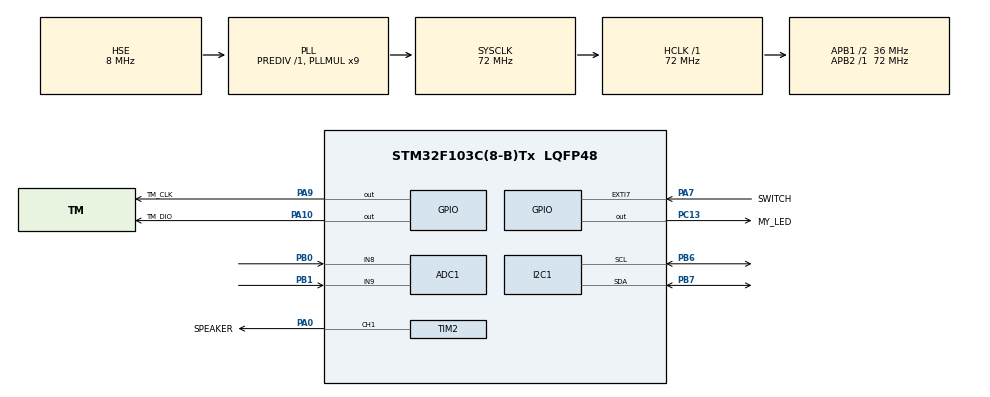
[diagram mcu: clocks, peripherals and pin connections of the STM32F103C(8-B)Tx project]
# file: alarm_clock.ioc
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ADC1.Channel-0\#ChannelRegularConversion=ADC_CHANNEL_9
ADC1.Channel-2\#ChannelRegularConversion=ADC_CHANNEL_8
ADC1.ContinuousConvMode=ENABLE
ADC1.EnableAnalogWatchDog=false
ADC1.NbrOfConversion=2
ADC1.NbrOfConversionFlag=1
ADC1.Rank-0\#ChannelRegularConversion=1
ADC1.Rank-2\#ChannelRegularConversion=2
ADC1.SamplingTime-0\#ChannelRegularConversion=ADC_SAMPLETIME_71CYCLES_5
ADC1.SamplingTime-2\#ChannelRegularConversion=ADC_SAMPLETIME_71CYCLES_5
ADC1.master=1
Dma.ADC1.0.Direction=DMA_PERIPH_TO_MEMORY
Dma.ADC1.0.Instance=DMA1_Channel1
Dma.ADC1.0.MemDataAlignment=DMA_MDATAALIGN_WORD
Dma.ADC1.0.MemInc=DMA_MINC_ENABLE
Dma.ADC1.0.Mode=DMA_CIRCULAR
Dma.ADC1.0.PeriphDataAlignment=DMA_PDATAALIGN_WORD
Dma.ADC1.0.PeriphInc=DMA_PINC_DISABLE
Dma.ADC1.0.Priority=DMA_PRIORITY_MEDIUM
Dma.Request0=ADC1
Mcu.Family=STM32F1
Mcu.Name=STM32F103C(8-B)Tx
Mcu.Package=LQFP48
NVIC.DMA1_Channel1_IRQn=true\:0\:0\:false\:false\:true\:false\:true\:true
NVIC.EXTI9_5_IRQn=true\:0\:0\:false\:false\:true\:true\:true\:true
NVIC.PriorityGroup=NVIC_PRIORITYGROUP_4
PA0-WKUP.GPIO_Label=SPEAKER
PA0-WKUP.Signal=S_TIM2_CH1_ETR
PA10.GPIO_Label=TM_DIO
PA10.Signal=GPIO_Output
PA13.Mode=Serial_Wire
PA13.Signal=SYS_JTMS-SWDIO
PA14.Mode=Serial_Wire
PA14.Signal=SYS_JTCK-SWCLK
PA7.GPIO_Label=SWITCH
PA7.GPIO_ModeDefaultEXTI=GPIO_MODE_IT_RISING_FALLING
PA7.GPIO_PuPd=GPIO_PULLUP
PA7.Signal=GPXTI7
PA9.GPIO_Label=TM_CLK
PA9.Signal=GPIO_Output
PB0.Signal=ADCx_IN8
PB1.Signal=ADCx_IN9
PB6.Mode=I2C
PB6.Signal=I2C1_SCL
PB7.Mode=I2C
PB7.Signal=I2C1_SDA
PC13-TAMPER-RTC.GPIO_Label=MY_LED
PC13-TAMPER-RTC.Signal=GPIO_Output
PD0-OSC_IN.Mode=HSE-External-Oscillator
PD0-OSC_IN.Signal=RCC_OSC_IN
PD1-OSC_OUT.Mode=HSE-External-Oscillator
PD1-OSC_OUT.Signal=RCC_OSC_OUT
ProjectManager.HeapSize=0x200
ProjectManager.StackSize=0x400
ProjectManager.TargetToolchain=STM32CubeIDE
RCC.ADCPresc=RCC_ADCPCLK2_DIV6
RCC.AHBFreq_Value=72000000
RCC.APB1CLKDivider=RCC_HCLK_DIV2
RCC.APB1Freq_Value=36000000
RCC.APB1TimFreq_Value=72000000
RCC.APB2Freq_Value=72000000
RCC.APB2TimFreq_Value=72000000
RCC.HCLKFreq_Value=72000000
RCC.PLLMUL=RCC_PLL_MUL9
RCC.PLLSourceVirtual=RCC_PLLSOURCE_HSE
RCC.SYSCLKFreq_VALUE=72000000
RCC.SYSCLKSource=RCC_SYSCLKSOURCE_PLLCLK
RCC.USBFreq_Value=72000000
SH.ADCx_IN8.0=ADC1_IN8,IN8
SH.ADCx_IN9.0=ADC1_IN9,IN9
SH.S_TIM2_CH1_ETR.0=TIM2_CH1,PWM Generation1 CH1
TIM2.Channel-PWM\ Generation1\ CH1=TIM_CHANNEL_1
TIM2.Period=2499
TIM2.Prescaler=71
VP_TIM2_VS_ClockSourceINT.Mode=Internal
board=custom

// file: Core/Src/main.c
/* USER CODE BEGIN Header */
/**
  ******************************************************************************
  * @file           : main.c
  * @brief          : Main program body
  ******************************************************************************
  * @attention
  *
  * Copyright (c) 2026 STMicroelectronics.
  * All rights reserved.
  *
  * This software is licensed under terms that can be found in the LICENSE file
  * in the root directory of this software component.
  * If no LICENSE file comes with this software, it is provided AS-IS.
  *
  ******************************************************************************
  */
/* USER CODE END Header */
#include "main.h"

/* USER CODE BEGIN Includes */

#include "tm1637.h"
#include "ds1307.h"
#include "ds3231.h"
#include "speaker.h"
#include "at24cxx.h"
#include "stdbool.h"
#include "string.h"

/* USER CODE END Includes */

ADC_HandleTypeDef hadc1;
DMA_HandleTypeDef hdma_adc1;

I2C_HandleTypeDef hi2c1;

TIM_HandleTypeDef htim2;

/* USER CODE BEGIN PV */
struct t_1 start_t;

// for current time
uint32_t downtime_seconds;
uint32_t downtime_seconds_prev = 0;
uint32_t downtime_seconds_prev_HELPER = 0;
uint32_t today_time_in_sec = 0;
uint8_t time_display_data[4];

// joystick
enum Joy_Commands {
	JOY_U,
	JOY_R,
	JOY_D,
	JOY_L,
	JOY_IDLE
};
bool joystick_at_idle = true;
uint32_t value_adc[2];

// For switch cases
volatile bool switch_pressed = false;
bool prev_switch_status = false;
bool long_switch_pressed = false;
uint32_t HIGH_TICK = 0, LOW_TICK = 0;
uint8_t double_quick_switch_counter = 0, single_quick_switch_counter = 0;
uint32_t single_switch_timer = 0;
bool enable_single_switch_timer = false;

int8_t current_function = 0;
int8_t current_layer = 0;
int8_t prev_layer = 0; // just for displaying alarm function(that is 0th function) when entered into layer1 from 0th layer

// layer: 1
int prev_joy_command = JOY_IDLE;

// lyaer: 2 --> TIMER
uint32_t my_alarm_playlist[4];
uint8_t total_enabled_alarms = 0;
bool start_playing_alarm = false;
bool compare_alarms = true;
bool currently_alarm_playing = false;

// layer: 2 --> TIMER
int8_t current_timer_option = 0;
bool stop_beep_beep_FLAG = false;

// layer: 2 --> STOP WATCH
uint8_t stop_w_data[4] = {0, 0, 0, 0};
uint32_t current_sw_tick = 0;
uint32_t prev_sw_tick = 0;
uint8_t stop_watch_layer = 0;
bool stop_watch_zero_display_FLAG = true;
uint32_t sw_counter = 0;

// For auto display off
bool auto_display_off_FLAG = false;
uint32_t auto_display_off_timer = 0;
bool auto_display_off_ENABLE = true;  // in layer 1 and layer 2 we don't want screen to go off. This is where this should be false to stop auto display off feature

bool start_timer_FLAG = false;

// timer sound parameters
bool start_beep_beep_FLAG = false;  // becomes high whenever alarm or timer finishes
uint8_t time_gap_counter = 0; // if self%3 = 0 then 100ms, = 1 then 100ms, =2 then 1 second
uint16_t timer_sound_interval = 0;
uint32_t timer_sound_prev_time = 0;
bool flip_on_off_sound_FLAG = true;

// for small beep
bool small_beep_FLAG = false;

uint16_t timer_seconds = 0;
uint32_t timer_PREV_time = 0, timer_FUTURE_time = 0;
uint8_t display_timer_data[4];
// ##################################################################################
/* USER CODE END PV */

void SystemClock_Config(void);
static void MX_GPIO_Init(void);
static void MX_DMA_Init(void);
static void MX_I2C1_Init(void);
static void MX_ADC1_Init(void);
static void MX_TIM2_Init(void);
/* USER CODE BEGIN PFP */

void display_current_time();
int get_joystick_commands(void);
int get_joystick_commands_continuous(void);
void display_stages(void);
void start_timer(uint8_t otpion);
void timer_beep_beep(void);
void detect_switch_cases_v2(void);
void update_layer(void);
void show_function_selector(void);
void timer_selector(void);
void handle_stop_watch(void);
void handle_alarm_setting(void);
uint8_t* time_set_UI_HELPER(uint8_t* saved_alarmP);
void update_alarm_playlist(void);
void handle_alarm_playing(void);
void alarm_loop(void);
/* USER CODE END PFP */

int main(void)
{

  /* USER CODE BEGIN 1 */
//	HAL_StatusTypeDef ret;

  /* USER CODE END 1 */

  /* MCU Configuration--------------------------------------------------------*/

  /* Reset of all peripherals, Initializes the Flash interface and the Systick. */
  HAL_Init();

  /* Configure the system clock */
  SystemClock_Config();

  /* Initialize all configured peripherals */
  MX_GPIO_Init();
  MX_DMA_Init();
  MX_I2C1_Init();
  MX_ADC1_Init();
  MX_TIM2_Init();
  /* USER CODE BEGIN 2 */
  uint8_t data[4] = {0b01110111, 0b01111100, 0b00111001, 0b01011110};  // 1, 2, 3, 4
  TM1637_WriteData(0xC0, data, 4);

//  enable_oscillator_1(&hi2c1);
//  HAL_Delay(1000);
//
//  set_rtc_to_current_1(&hi2c1, 0, 12, 14, 4, 19, 11, 26);
//  HAL_Delay(1000);
  // to enable rtc module
//  uint8_t buff[1] = {0};
//   HAL_I2C_Mem_Write(&hi2c1, TIMER_ADDR, REG_TIME, I2C_MEMADD_SIZE_8BIT, buff, 1, 100);

  start_t = get_current_time_1(&hi2c1);
  uint8_t start_minute = start_t.minute;
  uint8_t start_hour = start_t.hour;
  uint8_t start_seconds = start_t.second;
  uint32_t start_time_in_sec = start_hour * 3600 + start_minute * 60 + start_seconds;
  today_time_in_sec = start_time_in_sec;

  HAL_ADCEx_Calibration_Start(&hadc1);
  HAL_ADC_Start_DMA(&hadc1, (uint32_t*)value_adc, 2);

  // turn off built in led
  HAL_GPIO_WritePin(MY_LED_GPIO_Port, MY_LED_Pin, 1);

  update_alarm_playlist();

  /* USER CODE END 2 */

  /* Infinite loop */
  /* USER CODE BEGIN WHILE */
  while (1)
  {
	  // ################################################################################################
	  // calculating today's current time in seconds
	  downtime_seconds = HAL_GetTick()/1000;
//	  today_time_in_sec = start_time_in_sec + downtime_seconds;

	  if (downtime_seconds - downtime_seconds_prev_HELPER >= 1){
		  today_time_in_sec += 1;
		  downtime_seconds_prev_HELPER = downtime_seconds;
		  handle_alarm_playing();
	  }

	  if (today_time_in_sec > (86400)){
		  today_time_in_sec = get_current_time_in_sec_1(&hi2c1);
	  }
	  // ################################################################################################

	  detect_switch_cases_v2();

	  update_layer();

	  if (downtime_seconds - auto_display_off_timer >= 10 && (!auto_display_off_FLAG && auto_display_off_ENABLE)){
		  auto_display_off_FLAG = true;
		  uint8_t nothing_digits[4] = {0, 0, 0, 0};
		  TM1637_WriteData(0xc0, nothing_digits, 4);
	  }

	  if (current_layer == 0) {
		  if (!auto_display_off_ENABLE) auto_display_off_ENABLE = true;
		  display_current_time();
	  }

	  else if (current_layer == 1) {
		  if (auto_display_off_ENABLE) auto_display_off_ENABLE = false;
		  show_function_selector();
	  }

	  else if (current_layer == 2) {
		  // timer
		  if (current_function == 1){
			  timer_selector();
		  }
	  }

	  else if (current_layer == 10){
		  start_timer(current_timer_option);
		  if (start_beep_beep_FLAG) timer_beep_beep();
	  }

	  else if (current_layer == 15){
		  handle_stop_watch();
	  }

	  else if (current_layer == 20){
		  handle_alarm_setting();
		  update_alarm_playlist();
	  }

	  // clear all switch cases
	  single_quick_switch_counter = 0;
	  double_quick_switch_counter = 0;
	  long_switch_pressed = 0;
	  prev_layer = current_layer;

    /* USER CODE END WHILE */

  }
}

void SystemClock_Config(void)
{
  RCC_OscInitTypeDef RCC_OscInitStruct = {0};
  RCC_ClkInitTypeDef RCC_ClkInitStruct = {0};
  RCC_PeriphCLKInitTypeDef PeriphClkInit = {0};

  /** Initializes the RCC Oscillators according to the specified parameters
  * in the RCC_OscInitTypeDef structure.
  */
  RCC_OscInitStruct.OscillatorType = RCC_OSCILLATORTYPE_HSE;
  RCC_OscInitStruct.HSEState = RCC_HSE_ON;
  RCC_OscInitStruct.HSEPredivValue = RCC_HSE_PREDIV_DIV1;
  RCC_OscInitStruct.HSIState = RCC_HSI_ON;
  RCC_OscInitStruct.PLL.PLLState = RCC_PLL_ON;
  RCC_OscInitStruct.PLL.PLLSource = RCC_PLLSOURCE_HSE;
  RCC_OscInitStruct.PLL.PLLMUL = RCC_PLL_MUL9;
  if (HAL_RCC_OscConfig(&RCC_OscInitStruct) != HAL_OK)
  {
    Error_Handler();
  }

  /** Initializes the CPU, AHB and APB buses clocks
  */
  RCC_ClkInitStruct.ClockType = RCC_CLOCKTYPE_HCLK|RCC_CLOCKTYPE_SYSCLK
                              |RCC_CLOCKTYPE_PCLK1|RCC_CLOCKTYPE_PCLK2;
  RCC_ClkInitStruct.SYSCLKSource = RCC_SYSCLKSOURCE_PLLCLK;
  RCC_ClkInitStruct.AHBCLKDivider = RCC_SYSCLK_DIV1;
  RCC_ClkInitStruct.APB1CLKDivider = RCC_HCLK_DIV2;
  RCC_ClkInitStruct.APB2CLKDivider = RCC_HCLK_DIV1;

  if (HAL_RCC_ClockConfig(&RCC_ClkInitStruct, FLASH_LATENCY_2) != HAL_OK)
  {
    Error_Handler();
  }
  PeriphClkInit.PeriphClockSelection = RCC_PERIPHCLK_ADC;
  PeriphClkInit.AdcClockSelection = RCC_ADCPCLK2_DIV6;
  if (HAL_RCCEx_PeriphCLKConfig(&PeriphClkInit) != HAL_OK)
  {
    Error_Handler();
  }
}

static void MX_ADC1_Init(void)
{

  ADC_ChannelConfTypeDef sConfig = {0};

  /** Common config
  */
  hadc1.Instance = ADC1;
  hadc1.Init.ScanConvMode = ADC_SCAN_ENABLE;
  hadc1.Init.ContinuousConvMode = ENABLE;
  hadc1.Init.DiscontinuousConvMode = DISABLE;
  hadc1.Init.ExternalTrigConv = ADC_SOFTWARE_START;
  hadc1.Init.DataAlign = ADC_DATAALIGN_RIGHT;
  hadc1.Init.NbrOfConversion = 2;
  if (HAL_ADC_Init(&hadc1) != HAL_OK)
  {
    Error_Handler();
  }

  /** Configure Regular Channel
  */
  sConfig.Channel = ADC_CHANNEL_9;
  sConfig.Rank = ADC_REGULAR_RANK_1;
  sConfig.SamplingTime = ADC_SAMPLETIME_71CYCLES_5;
  if (HAL_ADC_ConfigChannel(&hadc1, &sConfig) != HAL_OK)
  {
    Error_Handler();
  }

  /** Configure Regular Channel
  */
  sConfig.Channel = ADC_CHANNEL_8;
  sConfig.Rank = ADC_REGULAR_RANK_2;
  if (HAL_ADC_ConfigChannel(&hadc1, &sConfig) != HAL_OK)
  {
    Error_Handler();
  }

}

static void MX_I2C1_Init(void)
{

  hi2c1.Instance = I2C1;
  hi2c1.Init.ClockSpeed = 100000;
  hi2c1.Init.DutyCycle = I2C_DUTYCYCLE_2;
  hi2c1.Init.OwnAddress1 = 0;
  hi2c1.Init.AddressingMode = I2C_ADDRESSINGMODE_7BIT;
  hi2c1.Init.DualAddressMode = I2C_DUALADDRESS_DISABLE;
  hi2c1.Init.OwnAddress2 = 0;
  hi2c1.Init.GeneralCallMode = I2C_GENERALCALL_DISABLE;
  hi2c1.Init.NoStretchMode = I2C_NOSTRETCH_DISABLE;
  if (HAL_I2C_Init(&hi2c1) != HAL_OK)
  {
    Error_Handler();
  }

}

static void MX_TIM2_Init(void)
{

  TIM_ClockConfigTypeDef sClockSourceConfig = {0};
  TIM_MasterConfigTypeDef sMasterConfig = {0};
  TIM_OC_InitTypeDef sConfigOC = {0};

  htim2.Instance = TIM2;
  htim2.Init.Prescaler = 71;
  htim2.Init.CounterMode = TIM_COUNTERMODE_UP;
  htim2.Init.Period = 2499;
  htim2.Init.ClockDivision = TIM_CLOCKDIVISION_DIV1;
  htim2.Init.AutoReloadPreload = TIM_AUTORELOAD_PRELOAD_DISABLE;
  if (HAL_TIM_Base_Init(&htim2) != HAL_OK)
  {
    Error_Handler();
  }
  sClockSourceConfig.ClockSource = TIM_CLOCKSOURCE_INTERNAL;
  if (HAL_TIM_ConfigClockSource(&htim2, &sClockSourceConfig) != HAL_OK)
  {
    Error_Handler();
  }
  if (HAL_TIM_PWM_Init(&htim2) != HAL_OK)
  {
    Error_Handler();
  }
  sMasterConfig.MasterOutputTrigger = TIM_TRGO_RESET;
  sMasterConfig.MasterSlaveMode = TIM_MASTERSLAVEMODE_DISABLE;
  if (HAL_TIMEx_MasterConfigSynchronization(&htim2, &sMasterConfig) != HAL_OK)
  {
    Error_Handler();
  }
  sConfigOC.OCMode = TIM_OCMODE_PWM1;
  sConfigOC.Pulse = 0;
  sConfigOC.OCPolarity = TIM_OCPOLARITY_HIGH;
  sConfigOC.OCFastMode = TIM_OCFAST_DISABLE;
  if (HAL_TIM_PWM_ConfigChannel(&htim2, &sConfigOC, TIM_CHANNEL_1) != HAL_OK)
  {
    Error_Handler();
  }
  HAL_TIM_MspPostInit(&htim2);

}

static void MX_DMA_Init(void)
{

  /* DMA controller clock enable */
  __HAL_RCC_DMA1_CLK_ENABLE();

  /* DMA interrupt init */
  /* DMA1_Channel1_IRQn interrupt configuration */
  HAL_NVIC_SetPriority(DMA1_Channel1_IRQn, 0, 0);
  HAL_NVIC_EnableIRQ(DMA1_Channel1_IRQn);

}

static void MX_GPIO_Init(void)
{
  GPIO_InitTypeDef GPIO_InitStruct = {0};

  /* GPIO Ports Clock Enable */
  __HAL_RCC_GPIOC_CLK_ENABLE();
  __HAL_RCC_GPIOD_CLK_ENABLE();
  __HAL_RCC_GPIOA_CLK_ENABLE();
  __HAL_RCC_GPIOB_CLK_ENABLE();

  /*Configure GPIO pin Output Level */
  HAL_GPIO_WritePin(MY_LED_GPIO_Port, MY_LED_Pin, GPIO_PIN_RESET);

  /*Configure GPIO pin Output Level */
  HAL_GPIO_WritePin(GPIOA, TM_CLK_Pin|TM_DIO_Pin, GPIO_PIN_RESET);

  /*Configure GPIO pin : MY_LED_Pin */
  GPIO_InitStruct.Pin = MY_LED_Pin;
  GPIO_InitStruct.Mode = GPIO_MODE_OUTPUT_PP;
  GPIO_InitStruct.Pull = GPIO_NOPULL;
  GPIO_InitStruct.Speed = GPIO_SPEED_FREQ_LOW;
  HAL_GPIO_Init(MY_LED_GPIO_Port, &GPIO_InitStruct);

  /*Configure GPIO pin : SWITCH_Pin */
  GPIO_InitStruct.Pin = SWITCH_Pin;
  GPIO_InitStruct.Mode = GPIO_MODE_IT_RISING_FALLING;
  GPIO_InitStruct.Pull = GPIO_PULLUP;
  HAL_GPIO_Init(SWITCH_GPIO_Port, &GPIO_InitStruct);

  /*Configure GPIO pins : TM_CLK_Pin TM_DIO_Pin */
  GPIO_InitStruct.Pin = TM_CLK_Pin|TM_DIO_Pin;
  GPIO_InitStruct.Mode = GPIO_MODE_OUTPUT_PP;
  GPIO_InitStruct.Pull = GPIO_NOPULL;
  GPIO_InitStruct.Speed = GPIO_SPEED_FREQ_LOW;
  HAL_GPIO_Init(GPIOA, &GPIO_InitStruct);

  /* EXTI interrupt init*/
  HAL_NVIC_SetPriority(EXTI9_5_IRQn, 0, 0);
  HAL_NVIC_EnableIRQ(EXTI9_5_IRQn);

}

/* USER CODE BEGIN 4 */

void HAL_GPIO_EXTI_Callback(uint16_t GPIO_Pin){
	if(GPIO_Pin == SWITCH_Pin){
		switch_pressed = !HAL_GPIO_ReadPin(SWITCH_GPIO_Port, SWITCH_Pin);
	}
}

void detect_switch_cases_v2(void) {
    uint32_t current_tick = HAL_GetTick();

    // Read the volatile variable into a local variable once per loop
    // to prevent it from changing halfway through this function.
    bool current_switch = switch_pressed;

    // set timer for auto display off
    if (current_switch) {
    	auto_display_off_timer = HAL_GetTick()/1000;
    	auto_display_off_FLAG = false;
    }

//    // handle long_switch beep sound
//    if((current_tick - HIGH_TICK >= 1500) && (HIGH_TICK - LOW_TICK > 50) && !small_beep_FLAG){
//    	small_beep_FLAG = true;
//    	speaker_play(&htim2, 350);
//    }

    // 1. FALLING/RISING EDGE DETECTION WITH 50ms DEBOUNCE
    if (current_switch && !prev_switch_status && (current_tick - LOW_TICK > 50)) {
        HIGH_TICK = current_tick; // Switch pressed
    }
    else if (!current_switch && prev_switch_status && (current_tick - HIGH_TICK > 50)) {
        LOW_TICK = current_tick;  // Switch released

        uint32_t press_duration = LOW_TICK - HIGH_TICK;

        // 2. CHECK IF SHORT PRESS OR LONG PRESS
        if (press_duration < 1500) {

            // If we were already waiting for a second click, this is a DOUBLE CLICK
            if (enable_single_switch_timer) {
                double_quick_switch_counter += 1;
                enable_single_switch_timer = false; // Cancel the single click timer
            }
            // Otherwise, this is the first click. Start the timer to wait for a potential second click.
            else {
                single_switch_timer = LOW_TICK;
                enable_single_switch_timer = true;
            }
        }
        else {
            // It was a long press, and it has just been released
//            LONG_SWITCH_BEEPED = false;  // Reset for next time
            long_switch_pressed = true;
            // Optional safety: if user released between 1500ms and 1800ms, stop the beep early
            if (small_beep_FLAG) {
            	small_beep_FLAG = false;
                speaker_stop(&htim2);
            }
        }
    }

    // 3. HANDLE SINGLE CLICK TIMEOUT
    // If 300ms have passed since a short press and no second press happened, it's a SINGLE CLICK
    if (enable_single_switch_timer && (current_tick - single_switch_timer > 300)) {
        single_quick_switch_counter += 1;
        enable_single_switch_timer = false;
    }

    // 4. HANDLE LONG PRESS 300ms BEEP
    // Step A: Start beep at 1500ms while button is actively held down
    if (current_switch && (current_tick - HIGH_TICK >= 1500) && !small_beep_FLAG) {
        small_beep_FLAG = true;    // Tracks that the buzzer is currently active
        speaker_play(&htim2, 600);
    }

    // Step B: Stop beep 300ms later (at 1800ms) even if user is still holding the button
    if (small_beep_FLAG && (current_tick - HIGH_TICK >= 1650)) {
        small_beep_FLAG = false;
        speaker_stop(&htim2);
    }

    	// Update previous state for the next loop iteration
    prev_switch_status = current_switch;
}

void update_layer(void){
//	current_layer - a global_var
	// from 0th layer to 1st layer
	if (current_layer == 0 && long_switch_pressed){
		current_function = 0; // that is alarm function
		// here I would need long switch press for forward pass
		current_layer = 1;  // entering to layer where functions can be selected
	}
	else if (current_layer == 1 && single_quick_switch_counter){
		single_quick_switch_counter = 0;
		current_layer = 2;  // Entering to particular function
		if (current_function == 2){
			current_layer = 15;
			stop_watch_layer = 0;
			stop_watch_zero_display_FLAG = true;
			auto_display_off_ENABLE = false;
		}

		else if (current_function == 0){
			current_layer = 20;
			auto_display_off_ENABLE = false;
		}
	}
	else if (double_quick_switch_counter && (current_layer <= 2)){
		current_layer -= 1;
	}
	// timer option selected
	else if (current_layer == 2 && single_quick_switch_counter){
		single_quick_switch_counter = 0;
		if (current_function == 1){
			current_layer = 10; // specific for timer
			auto_display_off_ENABLE = true;
		}
//		else if (current_function == 2){
//			current_layer = 15;  // specific for stop watch
//			auto_display_off_ENABLE = false;
//		}
	}
	// timer is finished, stop beeep-beep
	else if (current_layer == 10 && single_quick_switch_counter && start_beep_beep_FLAG){
		current_layer = 0;
		stop_beep_beep_FLAG = true;
		auto_display_off_ENABLE = true;
	}
	// cancel the timer with long_switch press
	else if (current_layer == 10 && long_switch_pressed && !start_beep_beep_FLAG){
		current_layer = 0;
		start_timer_FLAG = false;
		auto_display_off_ENABLE = true;
	}
	// cancel the stop watch
	else if(current_layer == 15 && double_quick_switch_counter){
		if (stop_watch_layer == 0){
			current_layer = 0;
			auto_display_off_ENABLE = true;
		}
	}

	if (current_layer < 0) current_layer = 0;
}

void handle_stop_watch(void){
	current_sw_tick = HAL_GetTick();
	if (stop_watch_layer == 0 && stop_watch_zero_display_FLAG){
		// reset the buffer with zero
		for (uint8_t i = 0; i < 4; i++){
			stop_w_data[i] = 0;
		}
		display_all_digits(stop_w_data);
		stop_watch_zero_display_FLAG = false;  // so that only one time 00:00 sets
	}

	// start counting
	if (stop_watch_layer == 0 && single_quick_switch_counter){
		single_quick_switch_counter = 0;
		prev_sw_tick = current_sw_tick;
		stop_watch_layer = 1;
		sw_counter = 0;
	}

	// counting
	else if(stop_watch_layer == 1){

		if (single_quick_switch_counter){
			single_quick_switch_counter = 0;
			stop_watch_layer = 2;
			return;
		}

		if (current_sw_tick - prev_sw_tick >= 1000){
			// display the count
			sw_counter += 1;
			uint8_t sw_minutes = (uint8_t)(sw_counter / 60);
			uint8_t sw_seconds = (uint8_t)(sw_counter - sw_minutes*60);
			stop_w_data[0] = sw_minutes / 10;
			stop_w_data[1] = sw_minutes % 10;
			stop_w_data[2] = sw_seconds / 10;
			stop_w_data[3] = sw_seconds % 10;
			display_all_digits(stop_w_data);
			prev_sw_tick = current_sw_tick;
		}
	}

	// continue
	else if(stop_watch_layer == 2 && single_quick_switch_counter){
		single_quick_switch_counter = 0;
		stop_watch_layer = 1;
		return;
	}

	// reset
	else if(stop_watch_layer == 2 && long_switch_pressed){
		long_switch_pressed = 0;
		stop_watch_layer = 0;
		stop_watch_zero_display_FLAG = true;
	}
}

void update_alarm_playlist(void){
	// extract saved alarms from memory
	uint16_t memory_addr = 0x0000u;  // address for page1's first byte
	total_enabled_alarms = 0;
	for (uint8_t i = 0; i < 4; i++){
		uint8_t rData[6] = {0,0,0,0,0,0};
		if(at24_isConnected(&hi2c1)){
		  	at24_read(&hi2c1, memory_addr, rData, 5, 100);
		  	HAL_Delay(10);

			// only get alarm which are enabled
		  	if (rData[4] == 1){
		  		my_alarm_playlist[total_enabled_alarms] = (uint32_t)(rData[0]*10 + rData[1])*3600UL + (uint32_t)(rData[2]*10 + rData[3])*60UL;
		  		total_enabled_alarms += 1;
		  	}
		}
		memory_addr += 64;
	}

	// sort my_alarm_playlist in ascending order
	for (uint8_t i = 1; i < total_enabled_alarms; i++){
		uint32_t key = my_alarm_playlist[i];
		int8_t j = i - 1;
		while (j >= 0 && my_alarm_playlist[j] > key){
			my_alarm_playlist[j + 1] = my_alarm_playlist[j];
			j--;
		}
		my_alarm_playlist[j + 1] = key;
	}
}

void handle_alarm_playing(void){
	// my_alarm_playlist will sorted
	for(uint8_t i=0; i < total_enabled_alarms; i++){
		// compare it with saved alarms and trigger alarm if any match
		if (my_alarm_playlist[i] == today_time_in_sec) {
			alarm_loop(); // this is blocking function
			today_time_in_sec = get_current_time_in_sec_1(&hi2c1);  // time update
		}

	}

}

// single_quick_switch means stops alarm and any joystick command for more than 2 second as snooze
// when exiting loop update the today_time_in_sec
void alarm_loop(void){
	uint16_t alarm_tone[4] = {150, 100, 150, 800};  // play, stop, play, stop
	uint8_t array_len = sizeof(alarm_tone)/sizeof(alarm_tone[0]);  // because size of returns total bytes
	uint8_t current_index = 0; // index of alarm_tone array
	uint32_t index_counter = 0;
	int joy_comm__ = JOY_IDLE, prev_joy_comm__ = JOY_IDLE;
	uint32_t alarm_start_time_ = today_time_in_sec;
	uint32_t current_time_ = alarm_start_time_;
	uint32_t current_tick;
	uint32_t snooze_alarm_tick_helper1, snooze_alarm_helper2;
	uint32_t alarm_helper1 = HAL_GetTick();
	bool flag1 = true; // used to enter the if statement which plays or stops speaker

	bool snooze_mode_enterd = false;

	char display_data1[4] = {'A', 'A', 'A', 'A'};
	char display_data2[4] = {'z', 'z', 'z', 'z'};

	while(true){
		current_tick = HAL_GetTick();
		detect_switch_cases_v2();
		joy_comm__ = get_joystick_commands_continuous();

		// update the loop time in sec
		current_time_ = current_tick/1000;

		// stop the alarm
		if (single_quick_switch_counter) {
			single_quick_switch_counter = 0;
			speaker_stop(&htim2);
			HAL_Delay(20);
			break;
		}
		// snooze the alarm
		if (joy_comm__ != JOY_IDLE){
			if (joy_comm__ != prev_joy_comm__){
				snooze_alarm_tick_helper1 = current_tick;
			}

			// if more than 2 second than enter to snooze mode
			if ((current_tick - snooze_alarm_tick_helper1 > 2000) && !snooze_mode_enterd){
				snooze_mode_enterd = true;
				snooze_alarm_helper2 = current_time_;  // will be used to compare 5 minutes for again trigger alarm
				speaker_stop(&htim2);
				HAL_Delay(20);
				display_all_chars(display_data2);
			}

		}

		// this is where alarm tone will be played
		if (!snooze_mode_enterd){
			if (flag1){
				alarm_helper1 = current_tick;
				flag1 = false;
				if (current_index%2 == 0){
					speaker_play(&htim2, 350);
					display_all_chars(display_data1);
				}
				else{
					speaker_stop(&htim2);
					display_all_chars(display_data2);
				}
			}

			// increment current_index
			if(current_tick - alarm_helper1 >= alarm_tone[current_index]){
				flag1 = true;
				index_counter += 1;
				current_index = index_counter % array_len;
			}
		}
		else{
			// 300 seconds = 5 minutes
			if(current_time_ - snooze_alarm_helper2 >= 300){
				snooze_mode_enterd = false;
			}
		}

		prev_joy_comm__ = joy_comm__;
	}

	display_all_chars(display_data2);
}

void handle_alarm_setting(void){
	bool run_loop = true;
	uint8_t alarm_layer = 0;  // 0: all saved alarm can be scrolled by up and down, 1: set or notSet the selected alarm, 2: UI for setting alarm
	int joy_comm;
	int prev_joy_comm = JOY_IDLE;
	int8_t alarm_number = 0;
	bool is_alarm_enable = false; // alarm is disabled
//	uint8_t display_numbers[4];
	char display_characters[4];

	// extract saved alarms from memory
	static uint8_t my_saved_alarms[4][5];
	uint16_t memory_addr = 0x0000u;  // address for page1's first byte
	for (uint8_t i = 0; i < 4; i++){
		uint8_t rData[6] = {0,0,0,0,0,0};
		if(at24_isConnected(&hi2c1)){
		  	at24_read(&hi2c1, memory_addr, rData, 5, 100);
		  	HAL_Delay(10);
		}
		// Copy 5 bytes from rData into row 'i' of my_saved_alarms
		memcpy(my_saved_alarms[i], rData, 5);
		memory_addr += 64;
	}
	memory_addr = 0x0000u; // reset

	while (run_loop){
		detect_switch_cases_v2();
		joy_comm = get_joystick_commands();

		if (alarm_layer == 0 && double_quick_switch_counter){
			current_layer = 0;
			auto_display_off_ENABLE = true;
			run_loop = false;
			// update the current time
			today_time_in_sec = get_current_time_in_sec_1(&hi2c1);
			break;
		}

		// upon selecting particular indexed alarm
		if(alarm_layer == 0 && single_quick_switch_counter){
			single_quick_switch_counter = 0;
			alarm_layer = 1;
			is_alarm_enable = my_saved_alarms[alarm_number][4];
			if (is_alarm_enable){
				display_characters[0] = 'S';
				display_characters[1] = 'E';
				display_characters[2] = 't';
				display_characters[3] = ' ';
			}
			else{
				display_characters[0] = 'n';
				display_characters[1] = 'S';
				display_characters[2] = 'E';
				display_characters[3] = 't';
			}
			display_all_chars(display_characters);
		}

		if (alarm_layer == 1 && single_quick_switch_counter){
			single_quick_switch_counter = 0;
			if (!is_alarm_enable){
				alarm_layer = 0;
				uint8_t temp_enable = is_alarm_enable ? 1 : 0;
				if(at24_isConnected(&hi2c1)){
					at24_write(&hi2c1, (memory_addr + alarm_number*64 + 4), &temp_enable, 1, 100);
					HAL_Delay(10);
				}
			  	display_all_digits(my_saved_alarms[alarm_number]);
			  	HAL_Delay(10);
			  	// save the status
			  	my_saved_alarms[alarm_number][4] = temp_enable;
			}
			else{
				uint8_t *alarm_time_HELPER = time_set_UI_HELPER(&my_saved_alarms[alarm_number][0]);
				memcpy(my_saved_alarms[alarm_number], alarm_time_HELPER, 4);
				my_saved_alarms[alarm_number][4] = 1;
				alarm_layer = 0;
				// now save this set alarm to memory
				if(at24_isConnected(&hi2c1)){
					at24_write(&hi2c1, (memory_addr + alarm_number*64), my_saved_alarms[alarm_number], 5, 100);
					HAL_Delay(10);
				}

			}
		}

		if ((joy_comm != prev_joy_comm) && (joy_comm != JOY_IDLE)){
			if (alarm_layer == 0){
				if (joy_comm == JOY_U) alarm_number++;
				else if (joy_comm == JOY_D) alarm_number--;
				if (alarm_number > 3) alarm_number = 3;
				if (alarm_number < 0) alarm_number = 0;

				// display the current indexed alarm
				display_all_digits(my_saved_alarms[alarm_number]);

			}

			else if (alarm_layer == 1){
				if ((joy_comm == JOY_R) || (joy_comm == JOY_L)){
					is_alarm_enable = !is_alarm_enable;
					if (is_alarm_enable){
						display_characters[0] = 'S';
						display_characters[1] = 'E';
						display_characters[2] = 't';
						display_characters[3] = ' ';
					}
					else{
						display_characters[0] = 'n';
						display_characters[1] = 'S';
						display_characters[2] = 'E';
						display_characters[3] = 't';
					}
					display_all_chars(display_characters);
				}
			}
		}

		prev_joy_comm = joy_comm;
	}
}

uint8_t* time_set_UI_HELPER(uint8_t* saved_alarmP){
	// first time display data means what time to show when this function is called
	// I think it should be saved alarm
	uint8_t saved_alarm[4];
	memcpy(saved_alarm, saved_alarmP, 4);
	int8_t hours = saved_alarm[0]*10 + saved_alarm[1];
	int8_t minutes = saved_alarm[2]*10 + saved_alarm[3];
	static uint8_t display_numbers[4];  // made static for this local variable
	uint8_t cursor_pointer = 0; // 0 means hours and 1 means minutes
	bool show_time = true;
	int joy_comm_;
	int prev_joy_comm_ = JOY_IDLE;
	uint32_t current_tick;
	uint32_t prev_tick = 0;
	bool enable_single_increment = false;
	bool enable_fast_multiple_increment = false;
	uint32_t counter_TICK_HELPER = 0, counter_TICK_HELPER_1 = 0;

	// start to blink at two of the hour's digits
	while(true){
		current_tick = HAL_GetTick();
		detect_switch_cases_v2();
		joy_comm_ = get_joystick_commands_continuous();

		// detect single switch press as final time and exit the loop
		if (single_quick_switch_counter){
			single_quick_switch_counter = 0;
			// so that it always shows correct set time
			display_numbers[0] = hours / 10;
			display_numbers[1] = hours % 10;
			display_numbers[2] = minutes / 10;
			display_numbers[3] = minutes % 10;
			display_all_digits(display_numbers);
			break;
		}

		// for changing pointer
		if (joy_comm_ != prev_joy_comm_ && (joy_comm_ != JOY_IDLE)){
			if (joy_comm_ == JOY_R || (joy_comm_ == JOY_L)){
				cursor_pointer = !cursor_pointer;
			}
		}

		// detect quick vs long joy commands
		if (joy_comm_ == JOY_U || joy_comm_ == JOY_D) {
		    if (joy_comm_ != prev_joy_comm_) {
		        enable_single_increment = true;
		        enable_fast_multiple_increment = false;
		        counter_TICK_HELPER = current_tick;
		    } else if ((current_tick - counter_TICK_HELPER) > 800) {
		        enable_fast_multiple_increment = true;
		    }
		} else {
		    enable_fast_multiple_increment = false;
		}

		// now do action
		if (enable_single_increment){
			enable_single_increment = false;
			if (cursor_pointer == 0){
				if (joy_comm_ == JOY_U) hours += 1;
				else if (joy_comm_ == JOY_D) hours -= 1;

				// limiting the values
				if (hours > 23) hours = 0;
				else if (hours < 0) hours = 23;
			}
			else{
				if (joy_comm_ == JOY_U) minutes += 1;
				else if (joy_comm_ == JOY_D) minutes -= 1;

				// limiting the values
				if (minutes > 59) minutes = 0;
				else if (minutes < 0) minutes = 59;
			}
		}

		if (enable_fast_multiple_increment){
			show_time = true;
			if (current_tick - counter_TICK_HELPER_1 > 200){
				counter_TICK_HELPER_1 = current_tick;

				if (cursor_pointer == 0){
					if (joy_comm_ == JOY_U) hours += 1;
					else if (joy_comm_ == JOY_D) hours -= 1;

					// limiting the values
					if (hours > 23) hours = 0;
					else if (hours < 0) hours = 23;
				}
				else{
					if (joy_comm_ == JOY_U) minutes += 1;
					else if (joy_comm_ == JOY_D) minutes -= 1;

					// limiting the values
					if (minutes > 59) minutes = 0;
					else if (minutes < 0) minutes = 59;
				}
			}
		}

		// let's convert time to display data
		display_numbers[0] = hours / 10;
		display_numbers[1] = hours % 10;
		display_numbers[2] = minutes / 10;
		display_numbers[3] = minutes % 10;

		// blink at current cursor point to
		if (!show_time){
			if (cursor_pointer == 0){
				display_numbers[0] = 10; // means default which is no display
				display_numbers[1] = 10;
			}
			else{
				display_numbers[2] = 10;
				display_numbers[3] = 10;
			}
		}
		if (current_tick - prev_tick > 200){
			show_time = !show_time;

			// display the numbers
			display_all_digits(display_numbers);
			prev_tick = current_tick;
		}

		prev_joy_comm_ = joy_comm_;

		HAL_Delay(10);
	}

	display_numbers[0] = hours / 10;
	display_numbers[1] = hours % 10;
	display_numbers[2] = minutes / 10;
	display_numbers[3] = minutes % 10;

	return display_numbers;
}

void show_function_selector(void){
	// display functions according to current_function
	// display 0th function when entered into layer1
	if (current_layer != prev_layer){
		char display_data[4] = {'A', 'L', 0, 0};
		display_all_chars(display_data);
		current_function = 0;
	}
	// update screen only when joystick command change from previous global stored command
	int joy_command = get_joystick_commands();
	if (joy_command != prev_joy_command && (joy_command != JOY_IDLE)){
		char display_data[4] = {0, 0, 0, 0};
		if (joy_command == JOY_U && (current_function < 3)) current_function += 1;
		else if (joy_command == JOY_D && (current_function > 0)) current_function -= 1;

		switch (current_function){
				case 0:
					display_data[0] = 'A';
					display_data[1] = 'L';
					break;
				case 1:
					display_data[0] = 't';
					display_data[1] = 'i';
					break;
				case 2:
					display_data[0] = 'S';
					display_data[1] = 't';
					display_data[2] = 'C';
					display_data[3] = 'L';
					break;
				case 3:
					display_data[0] = 'C';
					display_data[1] = 'L';
					break;
				}

				display_all_chars(display_data);
	}
	prev_joy_command = joy_command;
}

void timer_selector(void){
	if (current_layer != prev_layer){
		uint8_t display_data[4] = {0, 0, 1, 0};
		display_all_digits(display_data);
		current_timer_option = 0;
	}
	// update screen only when joystick command change from previous global stored command
	int joy_command = get_joystick_commands();
	if (joy_command != prev_joy_command && (joy_command != JOY_IDLE)){
		uint8_t display_data[4] = {0, 0, 0, 0};
		if (joy_command == JOY_U && (current_timer_option < 3)) current_timer_option += 1;
		else if (joy_command == JOY_D && (current_timer_option > 0)) current_timer_option -= 1;

		switch (current_timer_option){
				case 0:                         // 10 minutes
					display_data[2] = 1;
					display_data[3] = 0;
					break;
				case 1:                        // 25 minutes
					display_data[2] = 2;
					display_data[3] = 5;
					break;
				case 2:                        // 45 minutes
					display_data[2] = 4;
					display_data[3] = 5;
					break;
				case 3:                        // 60 minutes
					display_data[0] = 0;
					display_data[1] = 1;
					break;
				}

				display_all_digits(display_data);
	}
	prev_joy_command = joy_command;

}

void display_current_time(){
	uint8_t current_hour = (uint8_t)(today_time_in_sec / 3600);
	uint8_t current_minute = (uint8_t)((today_time_in_sec - current_hour*3600)/60);
//	uint8_t current_seconds = (uint8_t)(today_time_in_sec - current_hour*3600 - current_minute*60);

	time_display_data[0] = (current_hour / 10);
	time_display_data[1] = current_hour % 10;
	time_display_data[2] = (current_minute / 10);
	time_display_data[3] = current_minute % 10;

	if (downtime_seconds - downtime_seconds_prev >= 1){
		if (!auto_display_off_FLAG){
			display_all_digits(time_display_data);
		}
		downtime_seconds_prev = downtime_seconds;
	}
}

int get_joystick_commands(void){
	if (((value_adc[0] > 1000) && (value_adc[0] < 3000)) && ((value_adc[1] > 1000) && (value_adc[1] < 3000))){
		joystick_at_idle = true;
	}

	if (joystick_at_idle){
		// U
		if (value_adc[1] > 3500) {
			joystick_at_idle = false;
			return JOY_U;
		}
		// D
		if (value_adc[1] < 500){
			joystick_at_idle = false;
			return JOY_D;
		}

		// R
		if (value_adc[0] > 3500) {
			joystick_at_idle = false;
			return JOY_R;
		}
		// L
		if (value_adc[0] < 500){
			joystick_at_idle = false;
			return JOY_L;
		}

	}
	return 1000;  // just a random value other than [0:3]
}

int get_joystick_commands_continuous(void) {
    static int current_state = JOY_IDLE;

    // Return to IDLE once the stick is back in the center deadzone
    if ((value_adc[0] > 1000 && value_adc[0] < 3000) &&
        (value_adc[1] > 1000 && value_adc[1] < 3000)) {
        current_state = JOY_IDLE;
    }
    // Update direction when pushed past the outer thresholds
    else if (value_adc[1] > 3500) {
        current_state = JOY_U;
    } else if (value_adc[1] < 500) {
        current_state = JOY_D;
    } else if (value_adc[0] > 3500) {
        current_state = JOY_R;
    } else if (value_adc[0] < 500) {
        current_state = JOY_L;
    }

    return current_state;
}

void start_timer(uint8_t option){
	if (!start_beep_beep_FLAG){
	if (!start_timer_FLAG){
		switch (option){
		case 0:
			timer_seconds = 10*60;  // 10 minutes
			break;
		case 1:
			timer_seconds = 60*25; // 25 minutes
			break;
		case 2:
			timer_seconds = 60*45; // 45 minutes
			break;
		case 3:
			timer_seconds = 60*60; // 60 minutes
			break;
		}
		start_timer_FLAG = true;
		timer_FUTURE_time = today_time_in_sec + timer_seconds;

		// FIX 2: Initialize PREV_time so the first second doesn't tick prematurely
		timer_PREV_time = today_time_in_sec;
	}
	// start counting timer until 00:00
	else{
//		timer_CURRENT_time = HAL_GetTick()/1000;
		if (today_time_in_sec < timer_FUTURE_time){
			// show the time
			if (today_time_in_sec - timer_PREV_time >= 1){
				// calculate the time and show it
				timer_seconds -= 1;
				uint8_t current_minute = (uint8_t)(timer_seconds / 60);
				uint8_t current_seconds = (uint8_t)(timer_seconds - current_minute*60);
				display_timer_data[0] = (current_minute / 10);
				display_timer_data[1] = current_minute % 10;
				display_timer_data[2] = (current_seconds / 10);
				display_timer_data[3] = current_seconds % 10;

				if (!auto_display_off_FLAG){
					display_all_digits(display_timer_data);
				}

				timer_PREV_time = today_time_in_sec;
			}
		}
		// timer over. Make a beep-beep(timer_sound).
		else{
			start_beep_beep_FLAG = true;  // play timer_beep_beep()
			timer_sound_prev_time = HAL_GetTick();
			start_timer_FLAG = false;
		}
	}
	}
}

void timer_beep_beep(void){
	// check for user interrupt to stop sound
	if (stop_beep_beep_FLAG){
		stop_beep_beep_FLAG = false;
		start_beep_beep_FLAG = false;
		speaker_stop(&htim2);
		return;
	}

	// play beep-beep of high for 200ms and low for 200 ms then 1 second pause asynchronously.
	switch (time_gap_counter % 4){
	case 0: // on
		timer_sound_interval = 100;
		break;
	case 1: // off
		timer_sound_interval = 100;
		break;
	case 2: // on
		timer_sound_interval = 100;
		break;
	case 3: // off
		timer_sound_interval = 1000;
	}

	if (HAL_GetTick() - timer_sound_prev_time > timer_sound_interval){
		timer_sound_prev_time = HAL_GetTick();
		flip_on_off_sound_FLAG = true;
		time_gap_counter += 1;
	}

	if (flip_on_off_sound_FLAG){
		flip_on_off_sound_FLAG = false;
		if (time_gap_counter % 2 == 0){
			speaker_play(&htim2, 350);
			char mychar[4] = {'i', 'i', 'i', 'i'};
			display_all_chars(mychar);
		}
		else {
			speaker_stop(&htim2);
			char mychar[4] = {0, 0, 0, 0};
			display_all_chars(mychar);
		}

	}

}

//void display_stages(void){
//	if (current_stage != prev_stage){
//		char display_data[4] = {0, 0, 0, 0};
//		switch (current_stage){
//		case 0:
//			display_data[0] = 'C';
//			display_data[1] = 'L';
//			break;
//		case 1:
//			display_data[0] = 't';
//			display_data[1] = 'i';
//			break;
//		case 2:
//			display_data[0] = 'S';
//			display_data[1] = 't';
//			display_data[2] = 'C';
//			display_data[3] = 'L';
//			break;
//		case 3:
//			display_data[0] = 'A';
//			display_data[1] = 'L';
//			break;
//		}
//
//		display_all_chars(display_data);
//	}
//}

/* USER CODE END 4 */

void Error_Handler(void)
{
  __disable_irq();
  while (1)
  {
  }
}
